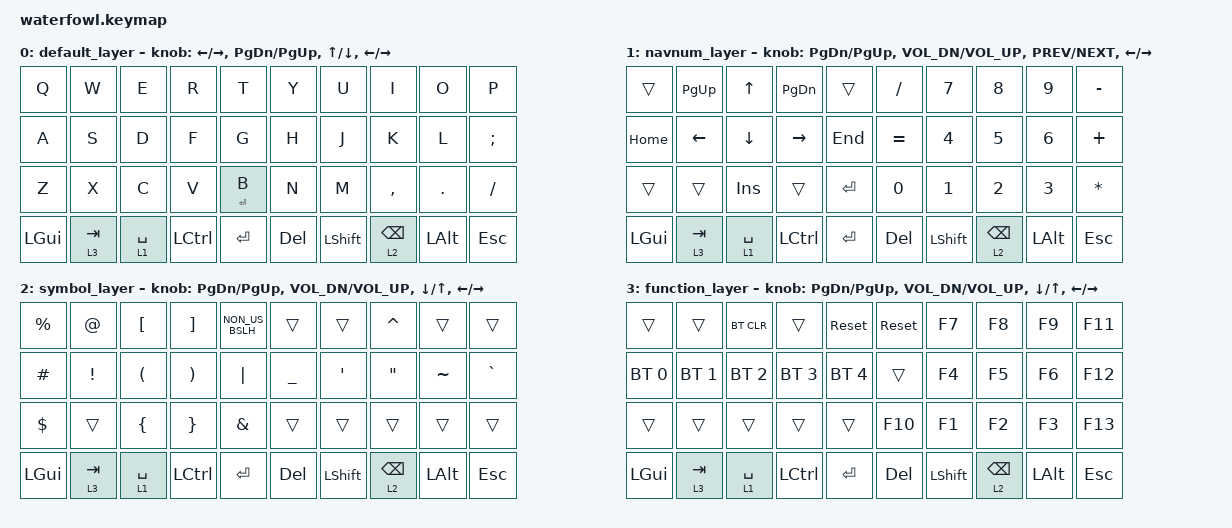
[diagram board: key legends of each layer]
/*
 * Copyright (c) 2022 The ZMK Contributors
 *
 * SPDX-License-Identifier: MIT
 */

#include <behaviors.dtsi>
#include <dt-bindings/zmk/keys.h>
#include <dt-bindings/zmk/bt.h>

/ {
    keymap {
        compatible = "zmk,keymap";

        default_layer {
/* QWERTY
 *
 * ,----------------------------------.                      ,----------------------------------.
 * |   Q  |   W  |   E  |   R  |   T  |                      |   Y  |   U  |   I  |   O  |   P  |
 * |------+------+------+------+------|                      |------+------+------+------+------|
 * |   A  |   S  |   D  |   F  |   G  |                      |   H  |   J  |   K  |   L  |   ;  |
 * |------+------+------+------+------|  ,-----.    ,-----.  |------+------+------+------+------|
 * |   Z  |   X  |   C  |   V  |   B  |  | RET |    | DEL |  |   N  |   M  |   ,  |   .  |   /  |
 * `----------------------------------'  `-----'    `-----'  `----------------------------------'
 *          ,-----.   ,----------------------.        ,--------------------.   ,-----.
 *          | LGUI|   | TAB | SPACE | LCTRL  |        |  LSHFT | BS | LALT |   | ESC |
 *          `-----'   `----------------------'        `--------------------'   `-----'
 */
            bindings = <
    &kp Q       &kp W       &kp E       &kp R       &kp T           &kp Y   &kp U       &kp I       &kp O       &kp P
    &kp A       &kp S       &kp D       &kp F       &kp G           &kp H   &kp J       &kp K       &kp L       &kp SEMI
    &kp Z       &kp X       &kp C       &kp V       &mt RET B           &kp N   &kp M       &kp COMMA   &kp DOT     &kp FSLH
    &kp LGUI    &lt 3 TAB   &lt 1 SPACE &kp LCTRL   &kp RET         &kp DEL &kp LSHFT   &lt 2 BSPC  &kp LALT    &kp ESC
            >;

            sensor-bindings = <
                &inc_dec_kp LEFT RIGHT
                &inc_dec_kp PG_DN PG_UP
                &inc_dec_kp UP DOWN
                &inc_dec_kp LEFT RIGHT
            >;
        };

        navnum_layer {
/* NAVNUM
 *
 * ,----------------------------------.                      ,----------------------------------.
 * |      | PgUp |  UP  | PgDn |      |                      |   /  |   7  |   8  |   9  |   -  |
 * |------+------+------+------+------|                      |------+------+------+------+------|
 * | Home | Left | Down | Right| End  |                      |   =  |   4  |   5  |   6  |   +  |
 * |------+------+------+------+------|  ,-----.    ,-----.  |------+------+------+------+------|
 * |      |      |  INS |      |      |  |  2  |    |  3  |  |   0  |   1  |   2  |   3  |   *  |
 * `----------------------------------'  `-----'    `-----'  `----------------------------------'
 *          ,-----.   ,--------------------.            ,--------------------.   ,-----.
 *          |  1  |   | DEL | SPACE | MO(3)|            |  ESC  | BS | ENTER |   |  4  |
 *          `-----'   `--------------------'            `--------------------'   `-----'
 */
            bindings = <
    &trans      &kp PG_UP   &kp UP      &kp PG_DN   &trans                  &kp FSLH    &kp N7      &kp N8      &kp N9      &kp MINUS
    &kp HOME    &kp LEFT    &kp DOWN    &kp RIGHT   &kp END                 &kp EQUAL   &kp N4      &kp N5      &kp N6      &kp PLUS
    &trans      &trans      &kp INS     &trans      &kp RET                  &kp N0      &kp N1      &kp N2      &kp N3      &kp ASTERISK
    &kp LGUI    &lt 3 TAB   &lt 1 SPACE &kp LCTRL   &kp RET                 &kp DEL     &kp LSHFT   &lt 2 BSPC  &kp LALT    &kp ESC
            >;

            sensor-bindings = <
                &inc_dec_kp PAGE_DOWN PAGE_UP
                &inc_dec_kp C_VOL_DN C_VOL_UP
                &inc_dec_kp C_PREV C_NEXT
                &inc_dec_kp LEFT RIGHT
            >;
        };

        symbol_layer {
/* SYM
 *
 * ,----------------------------------.                      ,----------------------------------.
 * |   %  |   @  |   [  |   ]  |   \  |                      |      |      |   ^  |      |      |
 * |------+------+------+------+------|                      |------+------+------+------+------|
 * |   #  |   !  |   (  |   )  |   |  |                      |   _  |   '  |   "  |   ~  |   `  |
 * |------+------+------+------+------|  ,-----.    ,-----.  |------+------+------+------+------|
 * |   $  |      |   {  |   }  |   &  |  |  2  |    |  3  |  |      |      |      |      |      |
 * `----------------------------------'  `-----'    `-----'  `----------------------------------'
 *          ,-----.   ,--------------------.            ,--------------------.   ,-----.
 *          |  1  |   | DEL | SPACE | TAB  |            |  ESC  | BS | ENTER |   |  4  |
 *          `-----'   `--------------------'            `--------------------'   `-----'
 */
            bindings = <
    &kp PRCNT       &kp AT      &kp LBKT    &kp RBKT    &kp NON_US_BSLH         &trans          &trans          &kp CARET           &trans      &trans
    &kp HASH        &kp EXCL    &kp LPAR    &kp RPAR    &kp PIPE                &kp UNDER       &kp APOS        &kp DOUBLE_QUOTES   &kp TILDE   &kp GRAVE
    &kp DLLR        &trans      &kp LBRC    &kp RBRC    &kp AMPS                &trans          &trans          &trans              &trans      &trans
    &kp LGUI        &lt 3 TAB   &lt 1 SPACE &kp LCTRL   &kp RET                 &kp DEL         &kp LSHFT       &lt 2 BSPC          &kp LALT    &kp ESC
            >;

            sensor-bindings = <
                &inc_dec_kp PAGE_DOWN PAGE_UP
                &inc_dec_kp C_VOL_DN C_VOL_UP
                &inc_dec_kp DOWN UP
                &inc_dec_kp LEFT RIGHT
            >;
        };

        function_layer {
/* FUNC
 *
 * ,----------------------------------.                      ,----------------------------------.
 * |      |      | BTCLR|      | Reset|                      | Reset|  F7  |  F8  |  F9  |  F11 |
 * |------+------+------+------+------|                      |------+------+------+------+------|
 * |  BT0 |  BT1 |  BT2 |  BT3 |  BT4 |                      |      |  F4  |  F5  |  F6  |  F12 |
 * |------+------+------+------+------|  ,-----.    ,-----.  |------+------+------+------+------|
 * |      |      |      |      |      |  |  2  |    |  3  |  |  F10 |  F1  |  F2  |  F3  |  F13 |
 * `----------------------------------'  `-----'    `-----'  `----------------------------------'
 *          ,-----.   ,--------------------.            ,--------------------.   ,-----.
 *          |  1  |   | DEL | SPACE | TAB  |            |  ESC  | BS | ENTER |   |  4  |
 *          `-----'   `--------------------'            `--------------------'   `-----'
 */
            bindings = <
    &trans          &trans          &bt BT_CLR      &trans          &sys_reset          &sys_reset  &kp F7      &kp F8      &kp F9      &kp F11
    &bt BT_SEL 0    &bt BT_SEL 1    &bt BT_SEL 2    &bt BT_SEL 3    &bt BT_SEL 4        &trans      &kp F4      &kp F5      &kp F6      &kp F12
    &trans          &trans          &trans          &trans          &trans              &kp F10     &kp F1      &kp F2      &kp F3      &kp F13
    &kp LGUI        &lt 3 TAB       &lt 1 SPACE     &kp LCTRL       &kp RET             &kp DEL     &kp LSHFT   &lt 2 BSPC  &kp LALT    &kp ESC
            >;

            sensor-bindings = <
                &inc_dec_kp PAGE_DOWN PAGE_UP
                &inc_dec_kp C_VOL_DN C_VOL_UP
                &inc_dec_kp DOWN UP
                &inc_dec_kp LEFT RIGHT
            >;
        };

    };
};
